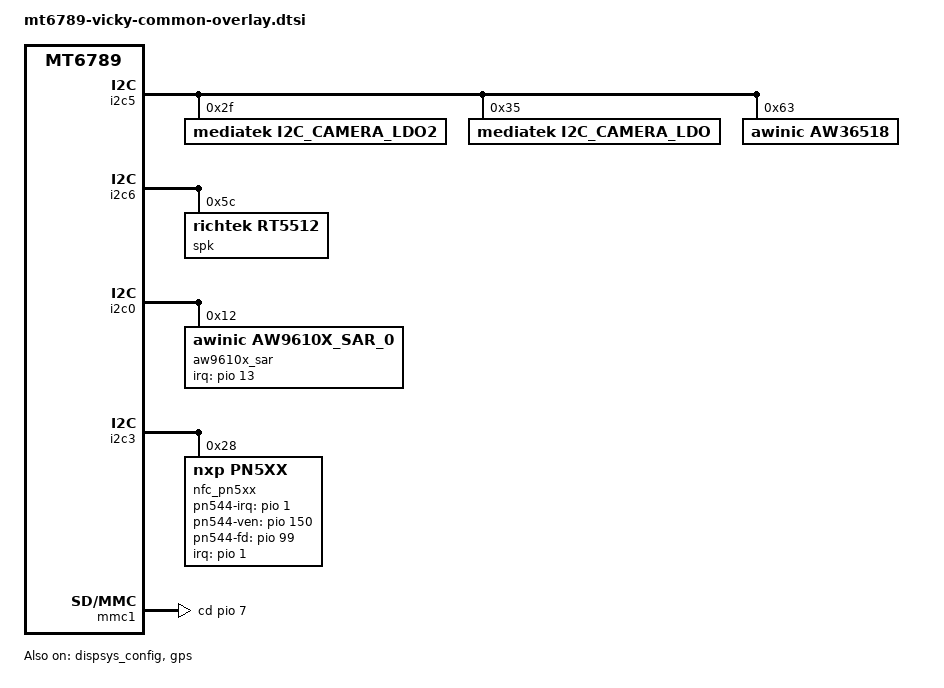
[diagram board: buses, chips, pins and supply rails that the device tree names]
/* Copyright (c) 2020, The Linux Foundation. All rights reserved.
 *
 * This program is free software; you can redistribute it and/or modify
 * it under the terms of the GNU General Public License version 2 and
 * only version 2 as published by the Free Software Foundation.
 *
 * This program is distributed in the hope that it will be useful,
 * but WITHOUT ANY WARRANTY; without even the implied warranty of
 * MERCHANTABILITY or FITNESS FOR A PARTICULAR PURPOSE.  See the
 * GNU General Public License for more details.
 */

#include <dt-bindings/gpio/gpio.h>
#include "mediatek/mt6789-moto-common-overlay.dtsi"
#include "mediatek/mt6789_vicky_camera_overlay.dtsi"
#include "mediatek/vicky-display.dtsi"
#include "mediatek/mt6789-vicky-audio-overlay.dtsi"
#include "mediatek/vicky-touch.dtsi"
#include "mediatek/mt6789-vicky-fps-overlay.dtsi"
&dispsys_config {
	pinctrl-names =
		"lcm_rst_out1_gpio", "lcm_rst_out0_gpio",
		"mode_te_te";
	pinctrl-0 = <&mtkfb_pins_lcm_rst_out1_gpio>;
	pinctrl-1 = <&mtkfb_pins_lcm_rst_out0_gpio>;
	pinctrl-2 = <&mtkfb_pins_lcm_dsi_te>;
	status = "okay";
};


/* GPS GPIO standardization start */
&pio {
	gps_pins_default: gps_default {
	};
	gps_l1_lna_pins_ol: gps_l1_lna@0 {
		pins_cmd_dat {
			pinmux = <PINMUX_GPIO25__FUNC_GPIO25>;
			output-low;
		};
	};
	gps_l1_lna_pins_dsp_ctrl: gps_l1_lna@1 {
		pins_cmd_dat {
			pinmux = <PINMUX_GPIO25__FUNC_GPS_L1_ELNA_EN>;
		};
	};
	gps_l1_lna_pins_oh: gps_l1_lna@2 {
		pins_cmd_dat {
			pinmux = <PINMUX_GPIO25__FUNC_GPIO25>;
			output-high;
		};
	};
	gps_l5_lna_pins_ol: gps_l5_lna@0 {
		pins_cmd_dat {
			pinmux = <PINMUX_GPIO26__FUNC_GPIO26>;
			output-low;
		};
	};
	gps_l5_lna_pins_dsp_ctrl: gps_l5_lna@1 {
		pins_cmd_dat {
			pinmux = <PINMUX_GPIO26__FUNC_GPS_L5_ELNA_EN>;
		};
	};
	gps_l5_lna_pins_oh: gps_l5_lna@2 {
		pins_cmd_dat {
			pinmux = <PINMUX_GPIO26__FUNC_GPIO26>;
			output-high;
		};
	};
};
&gps {
	pinctrl-names = "default",
		"gps_l1_lna_disable",
		"gps_l1_lna_dsp_ctrl",
		"gps_l1_lna_enable",
		"gps_l5_lna_disable",
		"gps_l5_lna_dsp_ctrl",
		"gps_l5_lna_enable";
	pinctrl-0 = <&gps_pins_default>;
	pinctrl-1 = <&gps_l1_lna_pins_ol>;
	pinctrl-2 = <&gps_l1_lna_pins_dsp_ctrl>;
	pinctrl-3 = <&gps_l1_lna_pins_oh>;
	pinctrl-4 = <&gps_l5_lna_pins_ol>;
	pinctrl-5 = <&gps_l5_lna_pins_dsp_ctrl>;
	pinctrl-6 = <&gps_l5_lna_pins_oh>;
	status = "okay";
};
/* GPS GPIO standardization end */

#include "mediatek/cust_mt6789_camera_v4l2.dtsi"

&i2c5 {
	i2c_camera_ldo2{
		compatible = "mediatek,i2c_camera_ldo2";
		reg = <0x2f>;
		status = "okay";
	};
	i2c_camera_ldo{
		compatible = "mediatek,i2c_camera_ldo";
		reg = <0x35>;
		status = "okay";
	};
	aw36518@63 {
		compatible = "awinic,aw36518";
		reg = <0x63>;
		status = "okay";
	};
};


&i2c6 {
	spk: speaker_amp@5c {
		compatible = "richtek,rt5512";
		#sound-dai-cells = <0>;
		reg = <0x5c>;
		status = "okay";
		sound-name-prefix = "Left";
	};
};


&i2c0 {
	status = "okay";
	aw9610x_sar@12 {
		compatible = "awinic,aw9610x_sar_0";
		reg = <0x12>;
		irq-gpio = <&pio 13 0x0>;
                chip_name = "AW96105";
		sar-num = <0>;
		aw9610x,channel_number = <0x3>;
		ch0_name = "capsense_bottom_left";
		ch1_name = "capsense_top";
		ch2_name = "capsense_bottom_right";
		aw9610x,using-firmware;
                aw9610x,firmware_name = "aw9610x_0";
		status = "okay";
	};
};

&i2c3 {
       nfc_pn5xx: nfc_pn5xx@28 {
		compatible = "nxp,pn5xx";
		reg = <0x28>;
		interrupt-parent = <&pio>;
		interrupts = <1 IRQ_TYPE_LEVEL_HIGH 1 0>;
		nxp,pn544-irq = <&pio 1 0>;
		nxp,pn544-ven = <&pio 150 0>;
		nxp,pn544-fd = <&pio 99 0>;
		status = "okay";
	};
};

&sound {
	mediatek,spk-i2s = <3 0>;
	mediatek,speaker-codec {
		sound-dai = <&spk>;
	};
};

/* sdcard */
&mmc1 {
	cd-gpios = <&pio 7 GPIO_ACTIVE_HIGH>;
};

&mtk_ctd {
		bootmode = <&chosen>;
};

/* SVP */
&mtee_svp {
	mtee: MTEE {
		compatible = "mediatek,mtk_svp_on_mtee_support";
	};
	svp: SecureVideoPath {
		compatible = "mediatek,mtk_sec_video_path_support";
	};
};

/*End of this file, DO NOT ADD ANYTHING HERE*/
